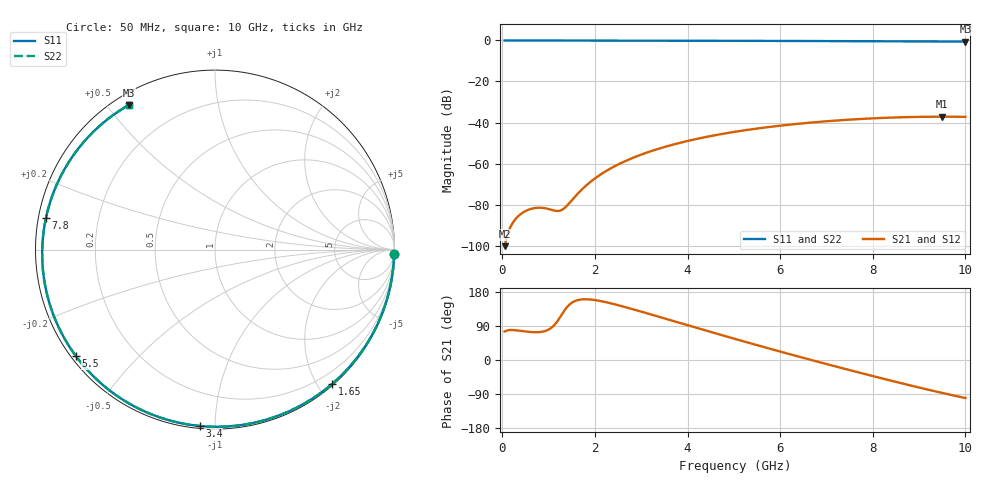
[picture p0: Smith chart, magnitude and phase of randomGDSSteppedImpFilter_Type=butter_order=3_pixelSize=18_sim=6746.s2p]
! freq	dB(S11)	phase(S11)	dB(S12)	phase(S12)
!  dB(S21)	phase(S21)	dB(S22)	phase(S22)
!S-par simulation data
#  GHz  S  DB  R 50
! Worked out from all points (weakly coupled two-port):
!   200 points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, 50 MHz to 10 GHz, reference 50 ohm
!   highest |S21| = -37.14 dB at 9.5 GHz (marker M1); lowest = -100.2 dB at 50 MHz (marker M2)
!   lowest |S11| = -0.6 dB at 10 GHz (marker M3), VSWR 31.10, Z = 2.12 + j28.3 ohm
!   |S11| at or under -10 dB: nowhere
!   |S22| runs from -0.6 to 0.0 dB; largest |S21 - S12| = 0
!   S11 on the Smith chart (normalised r, x): 50 MHz: 2, -78; 1.65 GHz: 0.02, -2.20; 3.4 GHz: 0.01, -0.92; 5.5 GHz: 0.01, -0.34; 7.8 GHz: 0.02, +0.09; 10 GHz: 0.04, +0.57
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0.05  -0.01 -1.5  -100.23 75.3  -100.23 75.3  -0.01 -1.5
0.4  -0.02 -12.1  -84.56 76.8  -84.56 76.8  -0.02 -12.1
0.7  -0.03 -21.1  -81.66 73.3  -81.66 73.3  -0.03 -21.1
1.4  -0.05 -41.7  -80.45 139.9  -80.45 139.9  -0.05 -41.7
1.45  -0.05 -43.1  -79.21 146.2  -79.21 146.2  -0.05 -43.1
1.65  -0.06 -48.8  -74.16 158.7  -74.16 158.7  -0.06 -48.8
1.75  -0.06 -51.6  -71.92 160.2  -71.92 160.2  -0.06 -51.6
2.05  -0.07 -60.0  -66.42 157.2  -66.42 157.2  -0.07 -60.0
2.45  -0.09 -70.8  -61.01 146.3  -61.01 146.3  -0.09 -70.8
2.9  -0.10 -82.5  -56.47 131.2  -56.47 131.2  -0.10 -82.5
3.4  -0.12 -95.0  -52.59 113.4  -52.59 113.4  -0.12 -95.0
4.2  -0.15 -114.0  -47.96 84.8  -47.96 84.8  -0.15 -114.0
5.05  -0.19 -132.9  -44.41 54.8  -44.41 54.8  -0.19 -132.9
5.5  -0.21 -142.6  -42.92 39.2  -42.92 39.2  -0.21 -142.6
6.1  -0.25 -155.2  -41.28 18.9  -41.28 18.9  -0.25 -155.2
6.7  -0.29 -167.7  -39.94 -0.9  -39.94 -0.9  -0.29 -167.7
7.25  -0.33 -179.0  -38.96 -18.7  -38.96 -18.7  -0.33 -179.1
7.8  -0.37 169.5  -38.18 -36.1  -38.18 -36.1  -0.37 169.5
8.35  -0.42 157.8  -37.62 -53.2  -37.62 -53.2  -0.42 157.8
8.9  -0.46 145.9  -37.27 -69.8  -37.27 -69.8  -0.46 145.9
9.5  -0.52 132.5  -37.14 -86.9  -37.14 -86.9  -0.52 132.5
10  -0.56 120.9  -37.21 -100.4  -37.21 -100.4  -0.56 120.9
